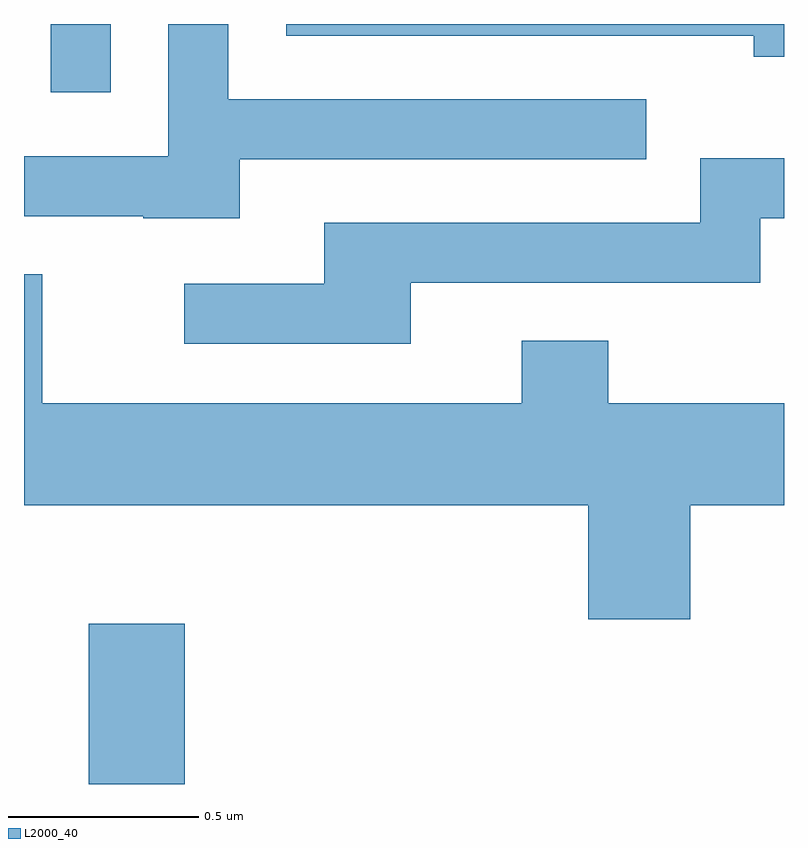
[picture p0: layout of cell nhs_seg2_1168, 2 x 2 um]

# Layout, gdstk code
import gdstk
lib = gdstk.Library(unit=1e-6, precision=1e-09)
def R(c, l, rs):  # rectangles x0, y0, x1, y1
    for r in rs: c.add(gdstk.rectangle(r[:2], r[2:], *l))
def P(c, l, *ps):  # polygons
    for p in ps: c.add(gdstk.Polygon(p, *l))
L2000_40 = (2000, 40)

nhs_seg2_1168 = lib.new_cell('nhs_seg2_1168')
R(nhs_seg2_1168, L2000_40, [(193.781,1049.802,194.034,1050.224), (193.681,1051.623,193.839,1051.802)])
P(nhs_seg2_1168, L2000_40, [(194.179,1051.446),(195.248,1051.446),(195.248,1051.604),(194.149,1051.604),(194.149,1051.802),(193.991,1051.802),(193.991,1051.454),(193.611,1051.454),(193.611,1051.296),(193.925,1051.296),(193.925,1051.291),(194.179,1051.291)],
  [(195.611,1051.802),(194.301,1051.802),(194.301,1051.771),(195.531,1051.771),(195.531,1051.716),(195.611,1051.716)],
  [(194.629,1051.121),(195.549,1051.121),(195.549,1051.291),(195.611,1051.291),(195.611,1051.449),(195.391,1051.449),(195.391,1051.279),(194.401,1051.279),(194.401,1051.119),(194.033,1051.119),(194.033,1050.961),(194.629,1050.961)],
  [(195.364,1050.536),(195.611,1050.536),(195.611,1050.804),(195.149,1050.804),(195.149,1050.969),(194.921,1050.969),(194.921,1050.804),(193.659,1050.804),(193.659,1051.144),(193.611,1051.144),(193.611,1050.536),(195.096,1050.536),(195.096,1050.236),(195.364,1050.236)])

lib.write_gds('nhs_seg2_1168.gds')
